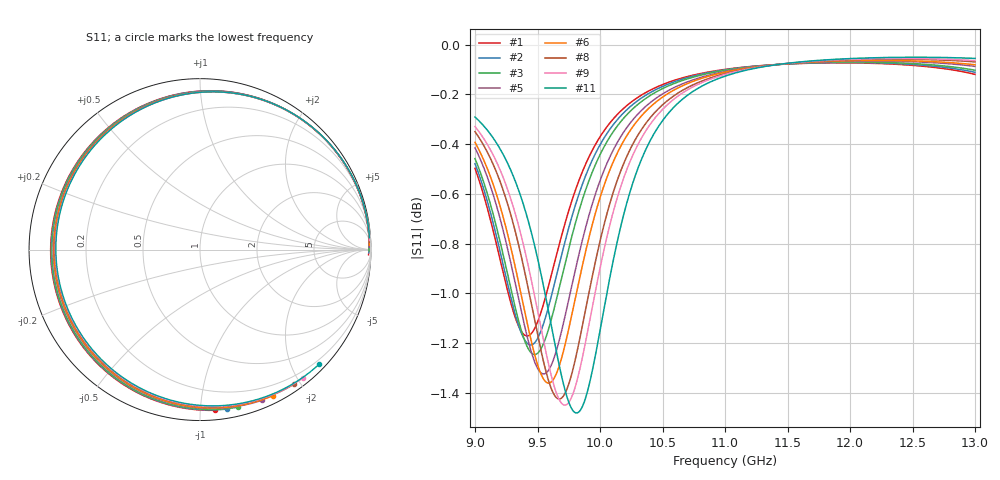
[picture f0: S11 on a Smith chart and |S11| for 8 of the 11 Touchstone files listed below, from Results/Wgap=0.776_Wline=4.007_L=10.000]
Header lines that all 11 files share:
! TOUCHSTONE file generated by CST DESIGN STUDIO
! Project name: C:\Work\MatlabApps\UnitCellOptimizationMatlab\CST\unitcell.cst
! Tree item: Tasks\Sweep1\SPara1\S-Parameters
! Header version: 2024
! Port assignment regex: !\s*Touchstone port\s*([0-9]+)\s*=\s*(CST MWS port|CST DES external port|CST DES block port)\s*(.+)\s* \(\"(.*)\"\)(\s*mode\s*([0-9]+))?.*
! Touchstone port assignment:
! Touchstone port 1 = CST DES external port 1 ("")
# GHz S MA R 50
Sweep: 9 GHz to 13 GHz
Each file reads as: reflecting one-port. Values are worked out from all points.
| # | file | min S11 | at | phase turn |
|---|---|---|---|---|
| 1 | DS_for_MWS-run-0001.s1p | -1.2 dB | 9.417 GHz | -277 deg |
| 2 | DS_for_MWS-run-0002.s1p | -1.2 dB | 9.445 GHz | -281 deg |
| 3 | DS_for_MWS-run-0003.s1p | -1.2 dB | 9.477 GHz | -284 deg |
| 4 | DS_for_MWS-run-0004.s1p | -1.3 dB | 9.512 GHz | -288 deg |
| 5 | DS_for_MWS-run-0005.s1p | -1.3 dB | 9.549 GHz | -292 deg |
| 6 | DS_for_MWS-run-0006.s1p | -1.4 dB | 9.589 GHz | -295 deg |
| 7 | DS_for_MWS-run-0007.s1p | -1.4 dB | 9.63 GHz | -299 deg |
| 8 | DS_for_MWS-run-0008.s1p | -1.4 dB | 9.674 GHz | -302 deg |
| 9 | DS_for_MWS-run-0009.s1p | -1.5 dB | 9.719 GHz | -306 deg |
| 10 | DS_for_MWS-run-0010.s1p | -1.5 dB | 9.765 GHz | -309 deg |
| 11 | DS_for_MWS-run-0011.s1p | -1.5 dB | 9.812 GHz | -312 deg |
